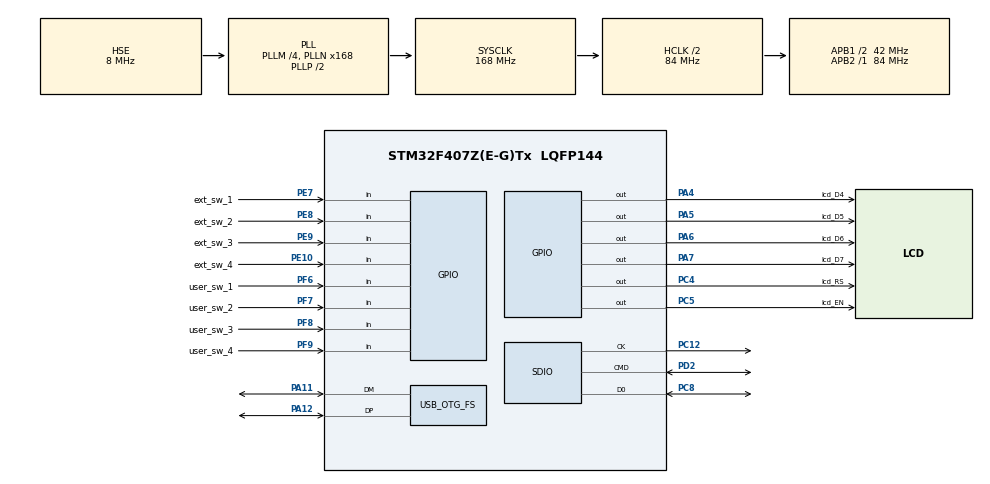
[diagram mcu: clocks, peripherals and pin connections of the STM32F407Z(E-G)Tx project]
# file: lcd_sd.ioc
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FATFS._MAX_SS=4096
FATFS._USE_LFN=1
Mcu.Family=STM32F4
Mcu.Name=STM32F407Z(E-G)Tx
Mcu.Package=LQFP144
NVIC.OTG_FS_IRQn=true\:0\:0\:false\:false\:true\:false\:true\:true
NVIC.PriorityGroup=NVIC_PRIORITYGROUP_4
PA11.Mode=Host_Only
PA11.Signal=USB_OTG_FS_DM
PA12.Mode=Host_Only
PA12.Signal=USB_OTG_FS_DP
PA4.GPIO_Label=lcd_D4
PA4.Signal=GPIO_Output
PA5.GPIO_Label=lcd_D5
PA5.Signal=GPIO_Output
PA6.GPIO_Label=lcd_D6
PA6.Signal=GPIO_Output
PA7.GPIO_Label=lcd_D7
PA7.Signal=GPIO_Output
PC12.Mode=SD_1_bit
PC12.Signal=SDIO_CK
PC4.GPIO_Label=lcd_RS
PC4.Signal=GPIO_Output
PC5.GPIO_Label=lcd_EN
PC5.Signal=GPIO_Output
PC8.Mode=SD_1_bit
PC8.Signal=SDIO_D0
PD2.Mode=SD_1_bit
PD2.Signal=SDIO_CMD
PE10.GPIO_Label=ext_sw_4
PE10.Signal=GPIO_Input
PE7.GPIO_Label=ext_sw_1
PE7.GPIO_PuPd=GPIO_PULLUP
PE7.Signal=GPIO_Input
PE8.GPIO_Label=ext_sw_2
PE8.GPIO_PuPd=GPIO_NOPULL
PE8.Signal=GPIO_Input
PE9.GPIO_Label=ext_sw_3
PE9.Signal=GPIO_Input
PF6.GPIO_Label=user_sw_1
PF6.GPIO_PuPd=GPIO_NOPULL
PF6.Signal=GPIO_Input
PF7.GPIO_Label=user_sw_2
PF7.GPIO_PuPd=GPIO_PULLUP
PF7.Signal=GPIO_Input
PF8.GPIO_Label=user_sw_3
PF8.GPIO_PuPd=GPIO_PULLUP
PF8.Signal=GPIO_Input
PF9.GPIO_Label=user_sw_4
PF9.GPIO_PuPd=GPIO_PULLUP
PF9.Signal=GPIO_Input
PH0-OSC_IN.Mode=HSE-External-Oscillator
PH0-OSC_IN.Signal=RCC_OSC_IN
PH1-OSC_OUT.Mode=HSE-External-Oscillator
PH1-OSC_OUT.Signal=RCC_OSC_OUT
ProjectManager.HeapSize=0x200
ProjectManager.StackSize=0x400
ProjectManager.TargetToolchain=STM32CubeIDE
RCC.48MHZClocksFreq_Value=48000000
RCC.AHBCLKDivider=RCC_SYSCLK_DIV2
RCC.AHBFreq_Value=84000000
RCC.APB1CLKDivider=RCC_HCLK_DIV2
RCC.APB1Freq_Value=42000000
RCC.APB1TimFreq_Value=84000000
RCC.APB2Freq_Value=84000000
RCC.APB2TimFreq_Value=84000000
RCC.CortexFreq_Value=84000000
RCC.HCLKFreq_Value=84000000
RCC.HSE_VALUE=8000000
RCC.HSI_VALUE=16000000
RCC.LSE_VALUE=32768
RCC.PLLM=4
RCC.PLLN=168
RCC.PLLQ=7
RCC.PLLSourceVirtual=RCC_PLLSOURCE_HSE
RCC.SYSCLKFreq_VALUE=168000000
RCC.SYSCLKSource=RCC_SYSCLKSOURCE_PLLCLK
RCC.VCOOutputFreq_Value=336000000
SDIO.ClockDiv=2
USB_HOST.USBH_HandleTypeDef-MSC_FS=hUsbHostFS
USB_HOST.VirtualModeFS=Msc
USB_OTG_FS.VirtualMode=Host_Only
USB_OTG_FS.phy_itface=HCD_PHY_EMBEDDED
VP_FATFS_VS_SDIO.Mode=SDIO
VP_FATFS_VS_USB.Mode=USB
VP_USB_HOST_VS_USB_HOST_MSC_FS.Mode=MSC_FS
board=custom

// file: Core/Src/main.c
/* USER CODE BEGIN Header */
/**
 ******************************************************************************
 * @file           : main.c
 * @brief          : Main program body
 ******************************************************************************
 * @attention
 *
 * Copyright (c) 2024 STMicroelectronics.
 * All rights reserved.
 *
 * This software is licensed under terms that can be found in the LICENSE file
 * in the root directory of this software component.
 * If no LICENSE file comes with this software, it is provided AS-IS.
 *
 ******************************************************************************
 */
/* USER CODE END Header */
#include "main.h"
#include "fatfs.h"
#include "sdio.h"
#include "usb_host.h"
#include "gpio.h"

/* USER CODE BEGIN Includes */
#include "wh2004.h"
#include "file_handle.h"
/* USER CODE END Includes */

/* USER CODE BEGIN PV */
extern ApplicationTypeDef Appli_state;
extern char menu_up_down;
extern uint8_t menu_index, selected_file_index, current_page;

char a = 1, b = 1, c = 0, sd = 0, usb = 0, menu_sel;

uint8_t last_state_pin1 = 1, last_state_pin2 = 1, last_state_pin3 = 1,
		last_state_pin4 = 1, pin_state1, pin_state2, pin_state3, pin_state4;
/* USER CODE END PV */

void SystemClock_Config(void);
void MX_USB_HOST_Process(void);

/* USER CODE BEGIN PFP */
void button_check(void);
/* USER CODE END PFP */

/* USER CODE BEGIN 0 */

void button_check(void) {

	pin_state1 = sw1_read;
	pin_state2 = sw2_read;
	pin_state3 = sw3_read;
	pin_state4 = sw4_read;

	if (pin_state4 == GPIO_PIN_RESET && pin_state4 != last_state_pin4) {

		menu_disp: if (c == 0) {
			button_menu_handler();
			HAL_Delay(500);
			c = 1;
		} else {
			c = sd = usb = selected_file_index = current_page = 0;
			goto menu_disp;
		}
	}

	if (c == 1) {

		if (pin_state1 == GPIO_PIN_RESET) {
			button_up_handler();
			HAL_Delay(100);
		}
		if (pin_state2 == GPIO_PIN_RESET) {
			button_down_handler();
			HAL_Delay(100);
		}
		if (pin_state3 == GPIO_PIN_RESET && pin_state3 != last_state_pin3) {
			if (a == 1) {
				if (menu_index == 0 && sd == 0) {
					scan_sd(SDPath);
					HAL_Delay(250);
					sd = 1;
					return;
				} else if (menu_index == 1 && usb == 0) {
					scan_usb(USBHPath);
					HAL_Delay(250);
					usb = 1;
					return;
				}
			}
			if (Appli_state == APPLICATION_READY) {
				button_select_handler();
				HAL_Delay(2000);
				lcd_write(cmd_clear_disp, cmd);
				update_display();
			}

		}
		last_state_pin3 = pin_state3;
	}
	last_state_pin4 = pin_state4;
}

/*if (pin_state1 == GPIO_PIN_RESET) {
 button_up_handler();
 HAL_Delay(100);
 }

 if (pin_state2 == GPIO_PIN_RESET) {
 button_down_handler();
 HAL_Delay(100);
 }

 if (pin_state3 == GPIO_PIN_RESET && pin_state3 != last_state_pin3) {
 if (Appli_state == APPLICATION_READY) {
 if (a == 1 || b == 1) {
 if (menu_index == 0) {
 sd = scan_sd(SDPath);
 a = 0;
 return;
 } else if (menu_index == 1) {
 usb = scan_usb(USBHPath);
 b = 0;
 return;
 }
 }

 button_select_handler();
 HAL_Delay(2000);
 lcd_write(cmd_clear_disp, cmd);
 update_display();
 }

 }
 last_state_pin3 = pin_state3;

 if (pin_state4 == GPIO_PIN_RESET && pin_state4 != last_state_pin4) {
 button_menu_handler();
 HAL_Delay(100);
 a = 1;
 b = 1;
 c = 1;
 }
 last_state_pin4 = pin_state4;*/

/* USER CODE END 0 */

int main(void) {

	/* MCU Configuration--------------------------------------------------------*/

	/* Reset of all peripherals, Initializes the Flash interface and the Systick. */
	HAL_Init();

	/* Configure the system clock */
	SystemClock_Config();

	/* Initialize all configured peripherals */
	MX_GPIO_Init();
	MX_SDIO_SD_Init();
	MX_FATFS_Init();
	MX_USB_HOST_Init();
	/* USER CODE BEGIN 2 */
	sd_mount();
	usb_mount();
	lcd_init();
	lcd_set_cursor(0, 1);
	lcd_print("Hello & Welcome To");
	lcd_set_cursor(2, 6);
	lcd_print("TIATECH");
	HAL_Delay(2000);
	/* USER CODE END 2 */

	/* Infinite loop */
	while (1) {

		/* USER CODE BEGIN 3 */
		MX_USB_HOST_Process();
		button_check();

	}
	/* USER CODE END 3 */
}

void SystemClock_Config(void) {
	RCC_OscInitTypeDef RCC_OscInitStruct = { 0 };
	RCC_ClkInitTypeDef RCC_ClkInitStruct = { 0 };

	/** Configure the main internal regulator output voltage
	 */
	__HAL_RCC_PWR_CLK_ENABLE();
	__HAL_PWR_VOLTAGESCALING_CONFIG(PWR_REGULATOR_VOLTAGE_SCALE1);

	/** Initializes the RCC Oscillators according to the specified parameters
	 * in the RCC_OscInitTypeDef structure.
	 */
	RCC_OscInitStruct.OscillatorType = RCC_OSCILLATORTYPE_HSE;
	RCC_OscInitStruct.HSEState = RCC_HSE_ON;
	RCC_OscInitStruct.PLL.PLLState = RCC_PLL_ON;
	RCC_OscInitStruct.PLL.PLLSource = RCC_PLLSOURCE_HSE;
	RCC_OscInitStruct.PLL.PLLM = 4;
	RCC_OscInitStruct.PLL.PLLN = 168;
	RCC_OscInitStruct.PLL.PLLP = RCC_PLLP_DIV2;
	RCC_OscInitStruct.PLL.PLLQ = 7;
	if (HAL_RCC_OscConfig(&RCC_OscInitStruct) != HAL_OK) {
		Error_Handler();
	}

	/** Initializes the CPU, AHB and APB buses clocks
	 */
	RCC_ClkInitStruct.ClockType = RCC_CLOCKTYPE_HCLK | RCC_CLOCKTYPE_SYSCLK
			| RCC_CLOCKTYPE_PCLK1 | RCC_CLOCKTYPE_PCLK2;
	RCC_ClkInitStruct.SYSCLKSource = RCC_SYSCLKSOURCE_PLLCLK;
	RCC_ClkInitStruct.AHBCLKDivider = RCC_SYSCLK_DIV2;
	RCC_ClkInitStruct.APB1CLKDivider = RCC_HCLK_DIV2;
	RCC_ClkInitStruct.APB2CLKDivider = RCC_HCLK_DIV1;

	if (HAL_RCC_ClockConfig(&RCC_ClkInitStruct, FLASH_LATENCY_2) != HAL_OK) {
		Error_Handler();
	}
}

void Error_Handler(void) {
	__disable_irq();
	while (1) {
	}
}
